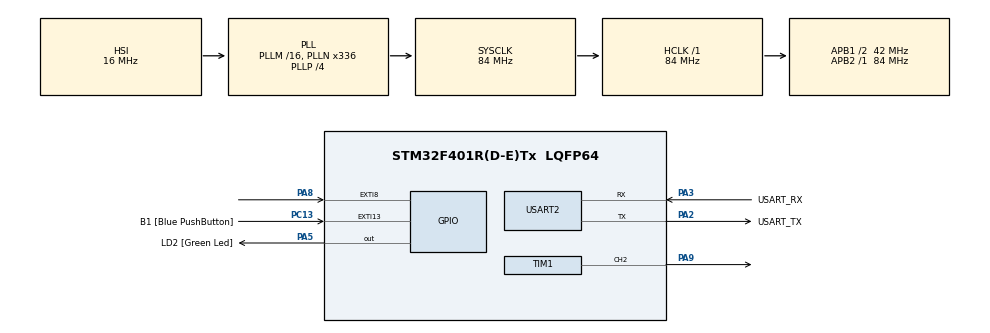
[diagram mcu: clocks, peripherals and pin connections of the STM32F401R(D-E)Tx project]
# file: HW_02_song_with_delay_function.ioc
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Mcu.Family=STM32F4
Mcu.Name=STM32F401R(D-E)Tx
Mcu.Package=LQFP64
NVIC.EXTI9_5_IRQn=true\:0\:0\:false\:false\:true\:true\:true\:true
NVIC.PriorityGroup=NVIC_PRIORITYGROUP_0
PA13.GPIO_Label=TMS
PA13.Mode=Serial_Wire
PA13.Signal=SYS_JTMS-SWDIO
PA14.GPIO_Label=TCK
PA14.Mode=Serial_Wire
PA14.Signal=SYS_JTCK-SWCLK
PA2.GPIO_Label=USART_TX
PA2.GPIO_Mode=GPIO_MODE_AF_PP
PA2.GPIO_PuPd=GPIO_NOPULL
PA2.GPIO_Speed=GPIO_SPEED_FREQ_LOW
PA2.Mode=Asynchronous
PA2.Signal=USART2_TX
PA3.GPIO_Label=USART_RX
PA3.GPIO_Mode=GPIO_MODE_AF_PP
PA3.GPIO_PuPd=GPIO_NOPULL
PA3.GPIO_Speed=GPIO_SPEED_FREQ_LOW
PA3.Mode=Asynchronous
PA3.Signal=USART2_RX
PA5.GPIO_Label=LD2 [Green Led]
PA5.GPIO_Mode=GPIO_MODE_OUTPUT_PP
PA5.GPIO_PuPd=GPIO_NOPULL
PA5.GPIO_Speed=GPIO_SPEED_FREQ_LOW
PA5.Signal=GPIO_Output
PA8.Signal=GPXTI8
PA9.Signal=S_TIM1_CH2
PB3.GPIO_Label=SWO
PB3.Signal=SYS_JTDO-SWO
PC13-ANTI_TAMP.GPIO_Label=B1 [Blue PushButton]
PC13-ANTI_TAMP.GPIO_ModeDefaultEXTI=GPIO_MODE_IT_FALLING
PC13-ANTI_TAMP.GPIO_PuPd=GPIO_NOPULL
PC13-ANTI_TAMP.Signal=GPXTI13
PC14-OSC32_IN.Mode=LSE-External-Oscillator
PC14-OSC32_IN.Signal=RCC_OSC32_IN
PC15-OSC32_OUT.Mode=LSE-External-Oscillator
PC15-OSC32_OUT.Signal=RCC_OSC32_OUT
PH0\ -\ OSC_IN.Mode=HSE-External-Clock-Source
PH0\ -\ OSC_IN.Signal=RCC_OSC_IN
PH1\ -\ OSC_OUT.Mode=HSE-External-Clock-Source
PH1\ -\ OSC_OUT.Signal=RCC_OSC_OUT
ProjectManager.HeapSize=0x200
ProjectManager.StackSize=0x400
ProjectManager.TargetToolchain=STM32CubeIDE
RCC.48MHZClocksFreq_Value=48000000
RCC.AHBFreq_Value=84000000
RCC.APB1CLKDivider=RCC_HCLK_DIV2
RCC.APB1Freq_Value=42000000
RCC.APB1TimFreq_Value=84000000
RCC.APB2Freq_Value=84000000
RCC.APB2TimFreq_Value=84000000
RCC.CortexFreq_Value=84000000
RCC.HCLKFreq_Value=84000000
RCC.HSE_VALUE=8000000
RCC.HSI_VALUE=16000000
RCC.PLLN=336
RCC.PLLP=RCC_PLLP_DIV4
RCC.PLLQ=7
RCC.SYSCLKFreq_VALUE=84000000
RCC.SYSCLKSource=RCC_SYSCLKSOURCE_PLLCLK
RCC.VCOOutputFreq_Value=336000000
SH.S_TIM1_CH2.0=TIM1_CH2,PWM Generation2 CH2
TIM1.Channel-PWM\ Generation2\ CH2=TIM_CHANNEL_2
TIM1.Prescaler=100
USART2.VirtualMode=VM_ASYNC
VP_TIM1_VS_ClockSourceINT.Mode=Internal
board=NUCLEO-F401RE

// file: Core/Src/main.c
/* USER CODE BEGIN Header */
/**
 ******************************************************************************
 * @file           : main.c
 * @brief          : Main program body
 ******************************************************************************
 * @attention
 *
 * Copyright (c) 2022 STMicroelectronics.
 * All rights reserved.
 *
 * This software is licensed under terms that can be found in the LICENSE file
 * in the root directory of this software component.
 * If no LICENSE file comes with this software, it is provided AS-IS.
 *
 ******************************************************************************
 */
/* USER CODE END Header */
#include "main.h"

/* USER CODE BEGIN PTD */
struct note {
	int tones;
	int duration;
};
/* USER CODE END PTD */

/* USER CODE BEGIN PD */
#define DO 3205
#define DOD 3031
#define RE 2856
#define RED 2699
#define MI 2544
#define FA 2405
#define FAD 2269
#define SOL 2141
#define SOLD 2023
#define LA 1908
#define LAD 1801
#define SI 1699

#define MINTIME 75

/* USER CODE END PD */

TIM_HandleTypeDef htim1;

UART_HandleTypeDef huart2;

/* USER CODE BEGIN PV */
struct note song[] = { { SOL, 6 }, { LA, 2 }, { SOL, 4 }, { FA, 4 }, { MI, 4 }, { FA, 4 }, { SOL, 8 }, { RE, 4 }, { MI, 4 }, { FA, 8 }, { MI, 4 }, { FA, 4 }, { SOL, 8 }, { SOL, 6 }, { LA, 2 }, { SOL,
		4 }, { FA, 4 }, {
MI, 4 }, { FA, 4 }, { SOL, 8 }, { RE, 8 }, { SOL, 8 }, { MI, 4 }, { DO, 10 }

};
/* USER CODE END PV */

void SystemClock_Config(void);
static void MX_GPIO_Init(void);
static void MX_USART2_UART_Init(void);
static void MX_TIM1_Init(void);

/* USER CODE BEGIN 0 */

/**
 * plays a note of the song via PWM with timer1
 */
void playNote(struct note setNote) {
	//sets up the parameters of the PWM for the note generation
	__HAL_TIM_SET_AUTORELOAD(&htim1, setNote.tones);
	__HAL_TIM_SET_COMPARE(&htim1, TIM_CHANNEL_2, setNote.tones / 2);
	__HAL_TIM_SET_COUNTER(&htim1, 0);

	HAL_TIM_PWM_Start(&htim1, TIM_CHANNEL_2);
	HAL_Delay(MINTIME * setNote.duration);
	HAL_TIM_PWM_Stop(&htim1, TIM_CHANNEL_2);

}

void playSong() {
	int length = sizeof(song) / sizeof(struct note);

	for (int i = 0; i < length; i++) {
		playNote(song[i]);
	}
}

int flag_mic = 1;

void HAL_GPIO_EXTI_Callback(uint16_t GPIO_Pin) {
	//handles interrupts on pin A8 (the microphone)

	switch (GPIO_Pin) {
	case (GPIO_PIN_8):
		if (flag_mic == 1) {
			// when the song is being played, the interrupt is disabled
			flag_mic = 0;
			HAL_NVIC_DisableIRQ(EXTI9_5_IRQn);
		}
		break;

	}

}
/* USER CODE END 0 */

int main(void) {

	/* MCU Configuration--------------------------------------------------------*/

	/* Reset of all peripherals, Initializes the Flash interface and the Systick. */
	HAL_Init();

	/* Configure the system clock */
	SystemClock_Config();

	/* Initialize all configured peripherals */
	MX_GPIO_Init();
	MX_USART2_UART_Init();
	MX_TIM1_Init();

	/* Infinite loop */
	/* USER CODE BEGIN WHILE */
	while (1) {
		// when the microphone is enabled and signals a loud noise, starts the song
		if (flag_mic == 0) {
			playSong();
			// after the song is finished being played, the interrupt is enabled again
			HAL_NVIC_EnableIRQ(EXTI9_5_IRQn);
			flag_mic = 1;
		}
		/* USER CODE END WHILE */

	}
}

void SystemClock_Config(void) {
	RCC_OscInitTypeDef RCC_OscInitStruct = { 0 };
	RCC_ClkInitTypeDef RCC_ClkInitStruct = { 0 };

	/** Configure the main internal regulator output voltage
	 */
	__HAL_RCC_PWR_CLK_ENABLE();
	__HAL_PWR_VOLTAGESCALING_CONFIG(PWR_REGULATOR_VOLTAGE_SCALE2);

	/** Initializes the RCC Oscillators according to the specified parameters
	 * in the RCC_OscInitTypeDef structure.
	 */
	RCC_OscInitStruct.OscillatorType = RCC_OSCILLATORTYPE_HSI;
	RCC_OscInitStruct.HSIState = RCC_HSI_ON;
	RCC_OscInitStruct.HSICalibrationValue = RCC_HSICALIBRATION_DEFAULT;
	RCC_OscInitStruct.PLL.PLLState = RCC_PLL_ON;
	RCC_OscInitStruct.PLL.PLLSource = RCC_PLLSOURCE_HSI;
	RCC_OscInitStruct.PLL.PLLM = 16;
	RCC_OscInitStruct.PLL.PLLN = 336;
	RCC_OscInitStruct.PLL.PLLP = RCC_PLLP_DIV4;
	RCC_OscInitStruct.PLL.PLLQ = 7;
	if (HAL_RCC_OscConfig(&RCC_OscInitStruct) != HAL_OK) {
		Error_Handler();
	}

	/** Initializes the CPU, AHB and APB buses clocks
	 */
	RCC_ClkInitStruct.ClockType = RCC_CLOCKTYPE_HCLK | RCC_CLOCKTYPE_SYSCLK | RCC_CLOCKTYPE_PCLK1 | RCC_CLOCKTYPE_PCLK2;
	RCC_ClkInitStruct.SYSCLKSource = RCC_SYSCLKSOURCE_PLLCLK;
	RCC_ClkInitStruct.AHBCLKDivider = RCC_SYSCLK_DIV1;
	RCC_ClkInitStruct.APB1CLKDivider = RCC_HCLK_DIV2;
	RCC_ClkInitStruct.APB2CLKDivider = RCC_HCLK_DIV1;

	if (HAL_RCC_ClockConfig(&RCC_ClkInitStruct, FLASH_LATENCY_2) != HAL_OK) {
		Error_Handler();
	}
}

static void MX_TIM1_Init(void) {

	TIM_ClockConfigTypeDef sClockSourceConfig = { 0 };
	TIM_MasterConfigTypeDef sMasterConfig = { 0 };
	TIM_OC_InitTypeDef sConfigOC = { 0 };
	TIM_BreakDeadTimeConfigTypeDef sBreakDeadTimeConfig = { 0 };

	htim1.Instance = TIM1;
	htim1.Init.Prescaler = 100;
	htim1.Init.CounterMode = TIM_COUNTERMODE_UP;
	htim1.Init.Period = 65535;
	htim1.Init.ClockDivision = TIM_CLOCKDIVISION_DIV1;
	htim1.Init.RepetitionCounter = 0;
	htim1.Init.AutoReloadPreload = TIM_AUTORELOAD_PRELOAD_DISABLE;
	if (HAL_TIM_Base_Init(&htim1) != HAL_OK) {
		Error_Handler();
	}
	sClockSourceConfig.ClockSource = TIM_CLOCKSOURCE_INTERNAL;
	if (HAL_TIM_ConfigClockSource(&htim1, &sClockSourceConfig) != HAL_OK) {
		Error_Handler();
	}
	if (HAL_TIM_PWM_Init(&htim1) != HAL_OK) {
		Error_Handler();
	}
	sMasterConfig.MasterOutputTrigger = TIM_TRGO_RESET;
	sMasterConfig.MasterSlaveMode = TIM_MASTERSLAVEMODE_DISABLE;
	if (HAL_TIMEx_MasterConfigSynchronization(&htim1, &sMasterConfig) != HAL_OK) {
		Error_Handler();
	}
	sConfigOC.OCMode = TIM_OCMODE_PWM1;
	sConfigOC.Pulse = 0;
	sConfigOC.OCPolarity = TIM_OCPOLARITY_HIGH;
	sConfigOC.OCNPolarity = TIM_OCNPOLARITY_HIGH;
	sConfigOC.OCFastMode = TIM_OCFAST_DISABLE;
	sConfigOC.OCIdleState = TIM_OCIDLESTATE_RESET;
	sConfigOC.OCNIdleState = TIM_OCNIDLESTATE_RESET;
	if (HAL_TIM_PWM_ConfigChannel(&htim1, &sConfigOC, TIM_CHANNEL_2) != HAL_OK) {
		Error_Handler();
	}
	sBreakDeadTimeConfig.OffStateRunMode = TIM_OSSR_DISABLE;
	sBreakDeadTimeConfig.OffStateIDLEMode = TIM_OSSI_DISABLE;
	sBreakDeadTimeConfig.LockLevel = TIM_LOCKLEVEL_OFF;
	sBreakDeadTimeConfig.DeadTime = 0;
	sBreakDeadTimeConfig.BreakState = TIM_BREAK_DISABLE;
	sBreakDeadTimeConfig.BreakPolarity = TIM_BREAKPOLARITY_HIGH;
	sBreakDeadTimeConfig.AutomaticOutput = TIM_AUTOMATICOUTPUT_DISABLE;
	if (HAL_TIMEx_ConfigBreakDeadTime(&htim1, &sBreakDeadTimeConfig) != HAL_OK) {
		Error_Handler();
	}
	HAL_TIM_MspPostInit(&htim1);

}

static void MX_USART2_UART_Init(void) {

	huart2.Instance = USART2;
	huart2.Init.BaudRate = 115200;
	huart2.Init.WordLength = UART_WORDLENGTH_8B;
	huart2.Init.StopBits = UART_STOPBITS_1;
	huart2.Init.Parity = UART_PARITY_NONE;
	huart2.Init.Mode = UART_MODE_TX_RX;
	huart2.Init.HwFlowCtl = UART_HWCONTROL_NONE;
	huart2.Init.OverSampling = UART_OVERSAMPLING_16;
	if (HAL_UART_Init(&huart2) != HAL_OK) {
		Error_Handler();
	}

}

static void MX_GPIO_Init(void) {
	GPIO_InitTypeDef GPIO_InitStruct = { 0 };

	/* GPIO Ports Clock Enable */
	__HAL_RCC_GPIOC_CLK_ENABLE();
	__HAL_RCC_GPIOH_CLK_ENABLE();
	__HAL_RCC_GPIOA_CLK_ENABLE();
	__HAL_RCC_GPIOB_CLK_ENABLE();

	/*Configure GPIO pin Output Level */
	HAL_GPIO_WritePin(LD2_GPIO_Port, LD2_Pin, GPIO_PIN_RESET);

	/*Configure GPIO pin : B1_Pin */
	GPIO_InitStruct.Pin = B1_Pin;
	GPIO_InitStruct.Mode = GPIO_MODE_IT_FALLING;
	GPIO_InitStruct.Pull = GPIO_NOPULL;
	HAL_GPIO_Init(B1_GPIO_Port, &GPIO_InitStruct);

	/*Configure GPIO pin : LD2_Pin */
	GPIO_InitStruct.Pin = LD2_Pin;
	GPIO_InitStruct.Mode = GPIO_MODE_OUTPUT_PP;
	GPIO_InitStruct.Pull = GPIO_NOPULL;
	GPIO_InitStruct.Speed = GPIO_SPEED_FREQ_LOW;
	HAL_GPIO_Init(LD2_GPIO_Port, &GPIO_InitStruct);

	/*Configure GPIO pin : PA8 */
	GPIO_InitStruct.Pin = GPIO_PIN_8;
	GPIO_InitStruct.Mode = GPIO_MODE_IT_RISING;
	GPIO_InitStruct.Pull = GPIO_NOPULL;
	HAL_GPIO_Init(GPIOA, &GPIO_InitStruct);

	/* EXTI interrupt init*/
	HAL_NVIC_SetPriority(EXTI9_5_IRQn, 0, 0);
	HAL_NVIC_EnableIRQ(EXTI9_5_IRQn);

}

void Error_Handler(void) {
	__disable_irq();
	while (1) {
	}
}
